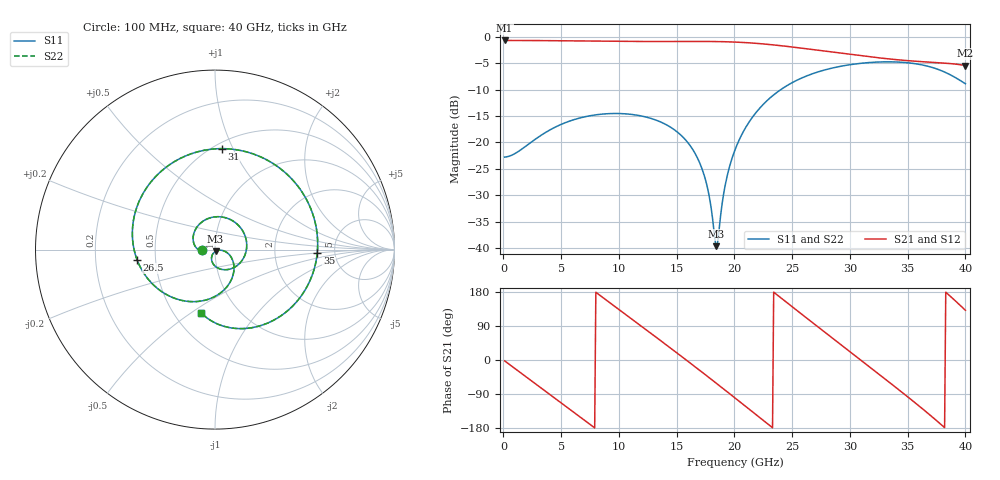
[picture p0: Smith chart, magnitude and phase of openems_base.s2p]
! C_s8_ap600: L1→L8, antipad Ø0.6 on every plane
! stackup: 8-layer 1.6 mm FR-4 (generic)
! ports: 1, 2
! openEMS 0.37.0, staircase, base mesh (dfine 0.035 mm), 560625 cells
# Hz S RI R 50
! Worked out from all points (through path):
!   400 points, 100 MHz to 40 GHz, reference 50 ohm
!   highest |S21| = -0.66 dB at 100 MHz (marker M1); lowest = -5.4 dB at 40 GHz (marker M2)
!   group delay of S21, straight-line fit = 65.4 ps
!   lowest |S11| = -39.7 dB at 18.4 GHz (marker M3), VSWR 1.02, Z = 50.3 - j1 ohm
!   |S11| at or under -10 dB: start of sweep to 24 GHz
!   |S22| runs from -39.7 to -4.7 dB; largest |S21 - S12| = 2.7e-05
!   S11 on the Smith chart (normalised r, x): 100 MHz: 0.86, -0.00; 26.5 GHz: 0.39, -0.06; 31 GHz: 0.55, +0.90; 35 GHz: 3.63, -0.22; 40 GHz: 0.68, -0.55
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1e8  -0.0727 -0.000512  0.9265 -0.0367  0.9264 -0.0367  -0.0727 -0.000509
1.7e9  -0.0883 -0.00179  0.7243 -0.5774  0.7243 -0.5774  -0.0883 -0.0018
3.6e9  -0.1183 0.0357  0.1345 -0.9141  0.1345 -0.9141  -0.1183 0.0357
5.1e9  -0.1163 0.0949  -0.3984 -0.8305  -0.3984 -0.8305  -0.1163 0.0949
6.8e9  -0.0627 0.161  -0.8254 -0.4  -0.8254 -0.4  -0.0626 0.161
8.6e9  0.0415 0.1813  -0.882 0.2352  -0.882 0.2352  0.0415 0.1813
1.06e10  0.1505 0.1106  -0.4503 0.7892  -0.4503 0.7892  0.1505 0.1106
1.34e10  0.1447 -0.0682  0.5074 0.7506  0.5074 0.7506  0.1447 -0.0682
1.52e10  0.0483 -0.1119  0.878 0.2276  0.878 0.2276  0.0483 -0.1119
1.69e10  -0.017 -0.0654  0.8221 -0.3852  0.8221 -0.3852  -0.017 -0.0654
1.78e10  -0.0144 -0.0281  0.6262 -0.6561  0.6262 -0.6561  -0.0144 -0.0281
1.84e10  0.00289 -0.00999  0.4445 -0.7887  0.4445 -0.7887  0.00289 -0.00999
2.01e10  0.0822 -0.0312  -0.1761 -0.877  -0.1761 -0.877  0.0822 -0.0312
2.32e10  -0.0201 -0.2704  -0.8435 -0.0555  -0.8435 -0.0555  -0.0201 -0.2704
2.65e10  -0.4341 -0.0569  -0.196 0.7416  -0.196 0.7416  -0.4341 -0.0569
2.67e10  -0.4454 -0.0221  -0.1331 0.7504  -0.1331 0.7504  -0.4454 -0.0221
2.91e10  -0.3264 0.4112  0.5136 0.4832  0.5136 0.4832  -0.3264 0.4112
3.1e10  0.0368 0.5626  0.6635 -0.019  0.6635 -0.019  0.0368 0.5626
3.34e10  0.486 0.3192  0.3229 -0.5284  0.3229 -0.5284  0.486 0.3192
3.5e10  0.5695 -0.0205  -0.0735 -0.5921  -0.0735 -0.5921  0.5695 -0.0205
3.77e10  0.2389 -0.4278  -0.5511 -0.1469  -0.5511 -0.147  0.2389 -0.4279
4e10  -0.0765 -0.3525  -0.3537 0.4032  -0.3537 0.4032  -0.0765 -0.3525
